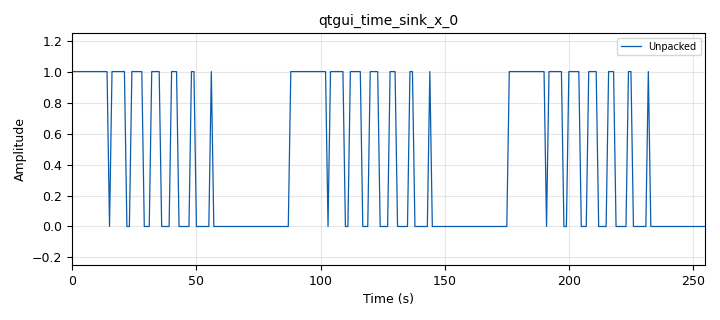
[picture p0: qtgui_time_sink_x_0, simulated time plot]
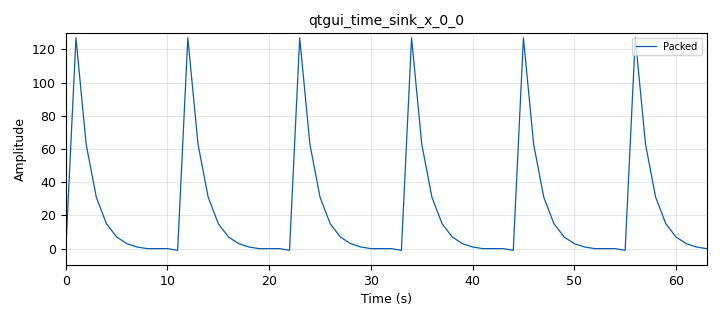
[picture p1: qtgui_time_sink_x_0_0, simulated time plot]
<?xml version='1.0' encoding='utf-8'?>
<?grc format='1' created='3.7.7'?>
<flow_graph>
<block>
<key>qtgui_time_sink_x</key>
<param><key>id</key><value>qtgui_time_sink_x_0</value></param>
<param><key>type</key><value>float</value></param>
<param><key>name</key><value></value></param>
<param><key>size</key><value>256</value></param>
<param><key>srate</key><value>1</value></param>
<param><key>ymin</key><value>-0.25</value></param>
<param><key>ymax</key><value>1.25</value></param>
<param><key>gui_hint</key><value>1,0,1,1</value></param>
<param><key>tr_mode</key><value>qtgui.TRIG_MODE_TAG</value></param>
<param><key>tr_tag</key><value>TAG</value></param>
<param><key>label1</key><value>Unpacked</value></param>
<param><key>color1</key><value>"blue"</value></param>
</block>
<block>
<key>variable</key>
<param><key>id</key><value>bpc</value></param>
<param><key>value</key><value>1</value></param>
</block>
<block>
<key>variable</key>
<param><key>id</key><value>samp_rate</value></param>
<param><key>value</key><value>32000</value></param>
</block>
<block>
<key>blocks_char_to_float</key>
<param><key>id</key><value>blocks_char_to_float_0</value></param>
<param><key>scale</key><value>1</value></param>
</block>
<block>
<key>blocks_packed_to_unpacked_xx</key>
<param><key>id</key><value>blocks_packed_to_unpacked_xx_0</value></param>
<param><key>type</key><value>byte</value></param>
<param><key>bits_per_chunk</key><value>bpc</value></param>
<param><key>endianness</key><value>gr.GR_LSB_FIRST</value></param>
</block>
<block>
<key>blocks_char_to_float</key>
<param><key>id</key><value>blocks_char_to_float_0_0</value></param>
<param><key>scale</key><value>1</value></param>
</block>
<block>
<key>blocks_throttle</key>
<param><key>id</key><value>blocks_throttle_0</value></param>
<param><key>type</key><value>byte</value></param>
<param><key>samples_per_second</key><value>samp_rate</value></param>
</block>
<block>
<key>qtgui_time_sink_x</key>
<param><key>id</key><value>qtgui_time_sink_x_0_0</value></param>
<param><key>type</key><value>float</value></param>
<param><key>name</key><value></value></param>
<param><key>size</key><value>64</value></param>
<param><key>srate</key><value>1</value></param>
<param><key>ymin</key><value>-10</value></param>
<param><key>ymax</key><value>130</value></param>
<param><key>gui_hint</key><value>0,0,1,1</value></param>
<param><key>tr_mode</key><value>qtgui.TRIG_MODE_TAG</value></param>
<param><key>tr_tag</key><value>TAG</value></param>
<param><key>label1</key><value>Packed</value></param>
<param><key>color1</key><value>"blue"</value></param>
</block>
<block>
<key>blocks_vector_source_x</key>
<param><key>id</key><value>blocks_vector_source_x_0</value></param>
<param><key>type</key><value>byte</value></param>
<param><key>vector</key><value>[255, 127, 63, 31, 15, 7, 3, 1, 0, 0, 0]</value></param>
<param><key>tags</key><value>tagged_streams.make_lengthtags((100,), (0,), "TAG")</value></param>
<param><key>repeat</key><value>True</value></param>
</block>
<block>
<key>options</key>
<param><key>id</key><value>blocks_packed_to_unpacked</value></param>
<param><key>generate_options</key><value>qt_gui</value></param>
<param><key>category</key><value>Custom</value></param>
</block>
<block>
<key>import</key>
<param><key>id</key><value>import_1</value></param>
<param><key>import</key><value>from gnuradio.digital.utils import tagged_streams</value></param>
</block>
<connection><source_block_id>blocks_packed_to_unpacked_xx_0</source_block_id><sink_block_id>blocks_char_to_float_0</sink_block_id><source_key>0</source_key><sink_key>0</sink_key></connection>
<connection><source_block_id>blocks_throttle_0</source_block_id><sink_block_id>blocks_packed_to_unpacked_xx_0</sink_block_id><source_key>0</source_key><sink_key>0</sink_key></connection>
<connection><source_block_id>blocks_char_to_float_0_0</source_block_id><sink_block_id>qtgui_time_sink_x_0_0</sink_block_id><source_key>0</source_key><sink_key>0</sink_key></connection>
<connection><source_block_id>blocks_throttle_0</source_block_id><sink_block_id>blocks_char_to_float_0_0</sink_block_id><source_key>0</source_key><sink_key>0</sink_key></connection>
<connection><source_block_id>blocks_char_to_float_0</source_block_id><sink_block_id>qtgui_time_sink_x_0</sink_block_id><source_key>0</source_key><sink_key>0</sink_key></connection>
<connection><source_block_id>blocks_vector_source_x_0</source_block_id><sink_block_id>blocks_throttle_0</sink_block_id><source_key>0</source_key><sink_key>0</sink_key></connection>
</flow_graph>
